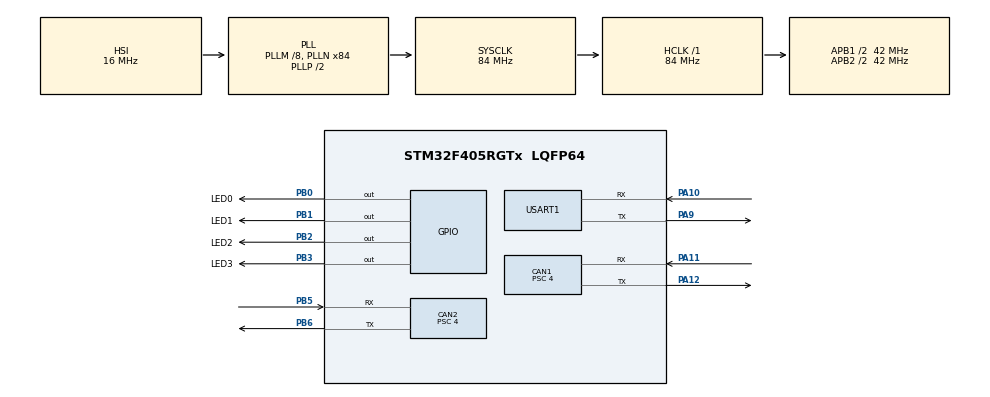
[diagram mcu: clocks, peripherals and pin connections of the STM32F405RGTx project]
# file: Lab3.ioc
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CAN1.ABOM=ENABLE
CAN1.AWUM=ENABLE
CAN1.BS1=CAN_BS1_16TQ
CAN1.BS2=CAN_BS2_4TQ
CAN1.CalculateBaudRate=500000
CAN1.CalculateTimeBit=2000
CAN1.CalculateTimeQuantum=95.23809523809524
CAN1.Prescaler=4
CAN1.SJW=CAN_SJW_2TQ
CAN2.ABOM=ENABLE
CAN2.AWUM=ENABLE
CAN2.BS1=CAN_BS1_16TQ
CAN2.BS2=CAN_BS2_4TQ
CAN2.CalculateBaudRate=500000
CAN2.CalculateTimeBit=2000
CAN2.CalculateTimeQuantum=95.23809523809524
CAN2.Prescaler=4
CAN2.SJW=CAN_SJW_2TQ
Mcu.Family=STM32F4
Mcu.Name=STM32F405RGTx
Mcu.Package=LQFP64
NVIC.CAN1_RX0_IRQn=true\:0\:0\:false\:false\:true\:true\:true\:true
NVIC.CAN2_RX1_IRQn=true\:0\:0\:false\:false\:true\:true\:true\:true
NVIC.PriorityGroup=NVIC_PRIORITYGROUP_4
PA10.Mode=Asynchronous
PA10.Signal=USART1_RX
PA11.Mode=CAN_Activate
PA11.Signal=CAN1_RX
PA12.Mode=CAN_Activate
PA12.Signal=CAN1_TX
PA9.Mode=Asynchronous
PA9.Signal=USART1_TX
PB0.GPIO_Label=LED0
PB0.Signal=GPIO_Output
PB1.GPIO_Label=LED1
PB1.Signal=GPIO_Output
PB2.GPIO_Label=LED2
PB2.Signal=GPIO_Output
PB3.GPIO_Label=LED3
PB3.Signal=GPIO_Output
PB5.Mode=CAN_Activate
PB5.Signal=CAN2_RX
PB6.Mode=CAN_Activate
PB6.Signal=CAN2_TX
PH0-OSC_IN.Mode=HSE-External-Oscillator
PH0-OSC_IN.Signal=RCC_OSC_IN
PH1-OSC_OUT.Mode=HSE-External-Oscillator
PH1-OSC_OUT.Signal=RCC_OSC_OUT
ProjectManager.HeapSize=0x200
ProjectManager.StackSize=0x400
ProjectManager.TargetToolchain=STM32CubeIDE
RCC.48MHZClocksFreq_Value=42000000
RCC.AHBFreq_Value=84000000
RCC.APB1CLKDivider=RCC_HCLK_DIV2
RCC.APB1Freq_Value=42000000
RCC.APB1TimFreq_Value=84000000
RCC.APB2CLKDivider=RCC_HCLK_DIV2
RCC.APB2Freq_Value=42000000
RCC.APB2TimFreq_Value=84000000
RCC.CortexFreq_Value=84000000
RCC.HCLKFreq_Value=84000000
RCC.HSE_VALUE=8000000
RCC.HSI_VALUE=16000000
RCC.LSE_VALUE=32768
RCC.PLLM=8
RCC.PLLN=84
RCC.SYSCLKFreq_VALUE=84000000
RCC.SYSCLKSource=RCC_SYSCLKSOURCE_PLLCLK
RCC.VCOOutputFreq_Value=168000000
USART1.VirtualMode=VM_ASYNC
board=custom

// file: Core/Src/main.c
/* USER CODE BEGIN Header */
/**
  ******************************************************************************
  * @file           : main.c
  * @brief          : Main program body
  ******************************************************************************
  * @attention
  *
  * Copyright (c) 2022 STMicroelectronics.
  * All rights reserved.
  *
  * This software is licensed under terms that can be found in the LICENSE file
  * in the root directory of this software component.
  * If no LICENSE file comes with this software, it is provided AS-IS.
  *
  ******************************************************************************
  */
/* USER CODE END Header */
#include "main.h"

/* USER CODE BEGIN Includes */
#include <stdio.h>
#include <string.h>
/* USER CODE END Includes */

CAN_HandleTypeDef hcan1;
CAN_HandleTypeDef hcan2;

UART_HandleTypeDef huart1;

/* USER CODE BEGIN PV */
CAN_TxHeaderTypeDef Node1_TxHeader;
CAN_RxHeaderTypeDef Node1_RxHeader;

uint8_t Node1_TxData[8];
uint8_t Node1_RxData[8];

uint32_t Node1_TxMailbox;

CAN_TxHeaderTypeDef Node2_TxHeader;
CAN_RxHeaderTypeDef Node2_RxHeader;

uint8_t Node2_TxData[8];
uint8_t Node2_RxData[8];

uint32_t Node2_TxMailbox;

uint8_t crcTable[256];

/* USER CODE END PV */

void SystemClock_Config(void);
static void MX_GPIO_Init(void);
static void MX_CAN1_Init(void);
static void MX_CAN2_Init(void);
static void MX_USART1_UART_Init(void);
/* USER CODE BEGIN PFP */

/* Private function prototypes -----------------------------------------------*/
#ifdef __GNUC__
 /* With GCC/RAISONANCE, small printf (option LD Linker->Libraries->Small printf
 set to 'Yes') calls __io_putchar() */
 #define PUTCHAR_PROTOTYPE int __io_putchar(int ch)
#else
 #define PUTCHAR_PROTOTYPE int fputc(int ch, FILE *f)
#endif /* __GNUC__ */

/* USER CODE END PFP */

/* USER CODE BEGIN 0 */

void CRC_Init(void)
{
    uint8_t _crc;
    for (int i = 0; i < 0x100; i++) {
        _crc = i;

        for (uint8_t bit = 0; bit < 8; bit++) _crc = (_crc & 0x80) ? ((_crc << 1) ^ 0x1D) : (_crc << 1);
            crcTable[i] = _crc;
    }
}

uint8_t CalcCRC(uint8_t * buf, uint8_t len)
{
    const uint8_t * ptr = buf;
    uint8_t _crc = 0xFF;

    while(len--) _crc = crcTable[_crc ^ *ptr++];
    return ~_crc;
}

void HAL_CAN_RxFifo0MsgPendingCallback(CAN_HandleTypeDef *hcan)
{
	HAL_GPIO_WritePin(LED1_GPIO_Port, LED1_Pin, GPIO_PIN_SET);
	HAL_CAN_GetRxMessage(hcan, CAN_RX_FIFO0, &Node1_RxHeader, Node1_RxData);
	if (Node1_RxHeader.DLC == 8)
	{
		printf("Node 1 get data: ");
		for (uint8_t i = 0; i < 8; i++)
		{
			printf("%X ", Node1_RxData[i]);
		}
		printf("\n");

		HAL_GPIO_WritePin(LED1_GPIO_Port, LED1_Pin, GPIO_PIN_RESET);
;
		// cap nhat gia tri dem
		Node1_TxData[6] = ++Node1_RxData[7];

		// checksum
		Node1_TxData[7] = CalcCRC(Node1_TxData, sizeof(uint8_t)*7);

		// gui lai goi tin cho Node 2
		HAL_CAN_AddTxMessage(&hcan1, &Node1_TxHeader, Node1_TxData, &Node1_TxMailbox);

	}
}

void HAL_CAN_RxFifo1MsgPendingCallback(CAN_HandleTypeDef *hcan)
{
	HAL_GPIO_WritePin(LED2_GPIO_Port, LED2_Pin, GPIO_PIN_SET);
	HAL_CAN_GetRxMessage(hcan, CAN_RX_FIFO1, &Node2_RxHeader, Node2_RxData);
	if (Node2_RxHeader.DLC == 8)
	{
		printf("Node 2 get data: ");
		for (uint8_t i = 0; i < 8; i++) {
			printf("%X ", Node2_RxData[i]);
		}
		printf("\n");
		HAL_GPIO_WritePin(LED2_GPIO_Port, LED2_Pin, GPIO_PIN_RESET);

		// cap nhat gia tri dem
		Node2_TxData[7] = Node2_RxData[6];
	}
}

/* USER CODE END 0 */

int main(void)
{

  /* MCU Configuration--------------------------------------------------------*/

  /* Reset of all peripherals, Initializes the Flash interface and the Systick. */
  HAL_Init();

  /* USER CODE BEGIN Init */
  CRC_Init();
  /* USER CODE END Init */

  /* Configure the system clock */
  SystemClock_Config();

  /* Initialize all configured peripherals */
  MX_GPIO_Init();
  MX_CAN1_Init();
  MX_CAN2_Init();
  MX_USART1_UART_Init();
  /* USER CODE BEGIN 2 */
  HAL_CAN_Start(&hcan1);
  HAL_CAN_Start(&hcan2);

  HAL_CAN_ActivateNotification(&hcan1, CAN_IT_RX_FIFO0_MSG_PENDING);
  HAL_CAN_ActivateNotification(&hcan2, CAN_IT_RX_FIFO1_MSG_PENDING);

  Node1_TxHeader.DLC = 8;
  Node1_TxHeader.IDE = CAN_ID_STD;
  Node1_TxHeader.RTR = CAN_RTR_DATA;
  Node1_TxHeader.StdId = 0x012;

  Node1_TxData[0] = 0x55;
  Node1_TxData[1] = 0x55;
  Node1_TxData[2] = 0x55;
  Node1_TxData[3] = 0x55;
  Node1_TxData[4] = 0x55;
  Node1_TxData[5] = 0x55;
  Node1_TxData[6] = 0x00;	// gia tri dem
  Node1_TxData[7] = 0x00;	// checksum

  Node2_TxHeader.DLC = 8;
  Node2_TxHeader.IDE = CAN_ID_STD;
  Node2_TxHeader.RTR = CAN_RTR_DATA;
  Node2_TxHeader.StdId = 0x0A2;

  Node2_TxData[0] = 0xAA;
  Node2_TxData[1] = 0xAA;
  Node2_TxData[2] = 0xAA;
  Node2_TxData[3] = 0xAA;
  Node2_TxData[4] = 0xAA;
  Node2_TxData[5] = 0xAA;
  Node2_TxData[6] = 0xAA;
  Node2_TxData[7] = 0x00; 	// gia tri dem

  /* USER CODE END 2 */

  /* Infinite loop */
  while (1)
  {

    /* USER CODE BEGIN 3 */
	  HAL_GPIO_TogglePin(LED0_GPIO_Port, LED0_Pin);
	  HAL_CAN_AddTxMessage(&hcan2, &Node2_TxHeader, Node2_TxData, &Node2_TxMailbox);
	  HAL_Delay(1000);
  }
  /* USER CODE END 3 */
}

void SystemClock_Config(void)
{
  RCC_OscInitTypeDef RCC_OscInitStruct = {0};
  RCC_ClkInitTypeDef RCC_ClkInitStruct = {0};

  /** Configure the main internal regulator output voltage
  */
  __HAL_RCC_PWR_CLK_ENABLE();
  __HAL_PWR_VOLTAGESCALING_CONFIG(PWR_REGULATOR_VOLTAGE_SCALE1);

  /** Initializes the RCC Oscillators according to the specified parameters
  * in the RCC_OscInitTypeDef structure.
  */
  RCC_OscInitStruct.OscillatorType = RCC_OSCILLATORTYPE_HSI;
  RCC_OscInitStruct.HSIState = RCC_HSI_ON;
  RCC_OscInitStruct.HSICalibrationValue = RCC_HSICALIBRATION_DEFAULT;
  RCC_OscInitStruct.PLL.PLLState = RCC_PLL_ON;
  RCC_OscInitStruct.PLL.PLLSource = RCC_PLLSOURCE_HSI;
  RCC_OscInitStruct.PLL.PLLM = 8;
  RCC_OscInitStruct.PLL.PLLN = 84;
  RCC_OscInitStruct.PLL.PLLP = RCC_PLLP_DIV2;
  RCC_OscInitStruct.PLL.PLLQ = 4;
  if (HAL_RCC_OscConfig(&RCC_OscInitStruct) != HAL_OK)
  {
    Error_Handler();
  }

  /** Initializes the CPU, AHB and APB buses clocks
  */
  RCC_ClkInitStruct.ClockType = RCC_CLOCKTYPE_HCLK|RCC_CLOCKTYPE_SYSCLK
                              |RCC_CLOCKTYPE_PCLK1|RCC_CLOCKTYPE_PCLK2;
  RCC_ClkInitStruct.SYSCLKSource = RCC_SYSCLKSOURCE_PLLCLK;
  RCC_ClkInitStruct.AHBCLKDivider = RCC_SYSCLK_DIV1;
  RCC_ClkInitStruct.APB1CLKDivider = RCC_HCLK_DIV2;
  RCC_ClkInitStruct.APB2CLKDivider = RCC_HCLK_DIV2;

  if (HAL_RCC_ClockConfig(&RCC_ClkInitStruct, FLASH_LATENCY_2) != HAL_OK)
  {
    Error_Handler();
  }
}

static void MX_CAN1_Init(void)
{

  hcan1.Instance = CAN1;
  hcan1.Init.Prescaler = 4;
  hcan1.Init.Mode = CAN_MODE_NORMAL;
  hcan1.Init.SyncJumpWidth = CAN_SJW_2TQ;
  hcan1.Init.TimeSeg1 = CAN_BS1_16TQ;
  hcan1.Init.TimeSeg2 = CAN_BS2_4TQ;
  hcan1.Init.TimeTriggeredMode = DISABLE;
  hcan1.Init.AutoBusOff = ENABLE;
  hcan1.Init.AutoWakeUp = ENABLE;
  hcan1.Init.AutoRetransmission = DISABLE;
  hcan1.Init.ReceiveFifoLocked = DISABLE;
  hcan1.Init.TransmitFifoPriority = DISABLE;
  if (HAL_CAN_Init(&hcan1) != HAL_OK)
  {
    Error_Handler();
  }
  /* USER CODE BEGIN CAN1_Init 2 */

  CAN_FilterTypeDef canfilterconfig;

  canfilterconfig.FilterActivation = CAN_FILTER_ENABLE;
  canfilterconfig.FilterBank = 18;  // which filter bank to use from the assigned ones
  canfilterconfig.FilterFIFOAssignment = CAN_FILTER_FIFO0;
  canfilterconfig.FilterIdHigh = 0x0A2<<5;
  canfilterconfig.FilterIdLow = 0;
  canfilterconfig.FilterMaskIdHigh = 0x0A2<<5;
  canfilterconfig.FilterMaskIdLow = 0x0000;
  canfilterconfig.FilterMode = CAN_FILTERMODE_IDMASK;
  canfilterconfig.FilterScale = CAN_FILTERSCALE_32BIT;
  canfilterconfig.SlaveStartFilterBank = 20;  // how many filters to assign to the CAN1 (master can)

  HAL_CAN_ConfigFilter(&hcan1, &canfilterconfig);

  /* USER CODE END CAN1_Init 2 */

}

static void MX_CAN2_Init(void)
{

  hcan2.Instance = CAN2;
  hcan2.Init.Prescaler = 4;
  hcan2.Init.Mode = CAN_MODE_NORMAL;
  hcan2.Init.SyncJumpWidth = CAN_SJW_2TQ;
  hcan2.Init.TimeSeg1 = CAN_BS1_16TQ;
  hcan2.Init.TimeSeg2 = CAN_BS2_4TQ;
  hcan2.Init.TimeTriggeredMode = DISABLE;
  hcan2.Init.AutoBusOff = ENABLE;
  hcan2.Init.AutoWakeUp = ENABLE;
  hcan2.Init.AutoRetransmission = DISABLE;
  hcan2.Init.ReceiveFifoLocked = DISABLE;
  hcan2.Init.TransmitFifoPriority = DISABLE;
  if (HAL_CAN_Init(&hcan2) != HAL_OK)
  {
    Error_Handler();
  }
  /* USER CODE BEGIN CAN2_Init 2 */

  CAN_FilterTypeDef canfilterconfig;

  canfilterconfig.FilterActivation = CAN_FILTER_ENABLE;
  canfilterconfig.FilterBank = 19;//10;  // which filter bank to use from the assigned ones
  canfilterconfig.FilterFIFOAssignment = CAN_FILTER_FIFO1;
  canfilterconfig.FilterIdHigh = 0x012<<5;
  canfilterconfig.FilterIdLow = 0;
  canfilterconfig.FilterMaskIdHigh = 0x012<<5;
  canfilterconfig.FilterMaskIdLow = 0x0000;
  canfilterconfig.FilterMode = CAN_FILTERMODE_IDMASK;
  canfilterconfig.FilterScale = CAN_FILTERSCALE_32BIT;
  canfilterconfig.SlaveStartFilterBank = 0;  // doesn't matter in single can controllers

  HAL_CAN_ConfigFilter(&hcan2, &canfilterconfig);

  /* USER CODE END CAN2_Init 2 */

}

static void MX_USART1_UART_Init(void)
{

  huart1.Instance = USART1;
  huart1.Init.BaudRate = 115200;
  huart1.Init.WordLength = UART_WORDLENGTH_8B;
  huart1.Init.StopBits = UART_STOPBITS_1;
  huart1.Init.Parity = UART_PARITY_NONE;
  huart1.Init.Mode = UART_MODE_TX_RX;
  huart1.Init.HwFlowCtl = UART_HWCONTROL_NONE;
  huart1.Init.OverSampling = UART_OVERSAMPLING_16;
  if (HAL_UART_Init(&huart1) != HAL_OK)
  {
    Error_Handler();
  }

}

static void MX_GPIO_Init(void)
{
  GPIO_InitTypeDef GPIO_InitStruct = {0};

  /* GPIO Ports Clock Enable */
  __HAL_RCC_GPIOH_CLK_ENABLE();
  __HAL_RCC_GPIOB_CLK_ENABLE();
  __HAL_RCC_GPIOA_CLK_ENABLE();

  /*Configure GPIO pin Output Level */
  HAL_GPIO_WritePin(GPIOB, LED0_Pin|LED1_Pin|LED2_Pin|LED3_Pin, GPIO_PIN_RESET);

  /*Configure GPIO pins : LED0_Pin LED1_Pin LED2_Pin LED3_Pin */
  GPIO_InitStruct.Pin = LED0_Pin|LED1_Pin|LED2_Pin|LED3_Pin;
  GPIO_InitStruct.Mode = GPIO_MODE_OUTPUT_PP;
  GPIO_InitStruct.Pull = GPIO_NOPULL;
  GPIO_InitStruct.Speed = GPIO_SPEED_FREQ_LOW;
  HAL_GPIO_Init(GPIOB, &GPIO_InitStruct);

}

/* USER CODE BEGIN 4 */

/**
 * @brief Retargets the C library printf function to the USART.
 * @param None
 * @retval None
 */
PUTCHAR_PROTOTYPE
{
 /* Place your implementation of fputc here */
 /* e.g. write a character to the USART */
 HAL_UART_Transmit(&huart1, (uint8_t *)&ch, 1, 100);

 return ch;
}

/* USER CODE END 4 */

void Error_Handler(void)
{
  __disable_irq();
  while (1)
  {
  }
}
